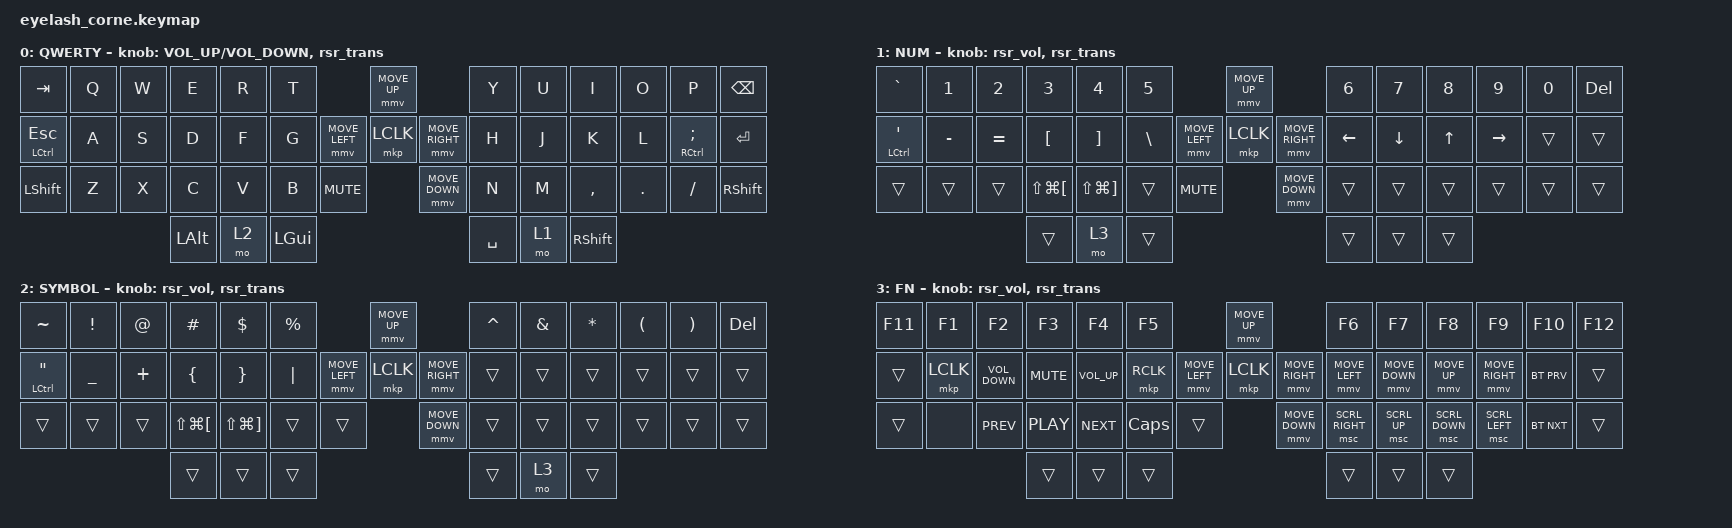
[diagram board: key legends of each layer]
#define ZMK_POINTING_DEFAULT_MOVE_VAL 1200  // 600
#define ZMK_POINTING_DEFAULT_SCRL_VAL 25   // 10

#include <input/processors.dtsi>
#include <zephyr/dt-bindings/input/input-event-codes.h>
#include <behaviors.dtsi>
#include <behaviors/runtime-sensor-rotate.dtsi>
#include <dt-bindings/zmk/bt.h>
#include <dt-bindings/zmk/keys.h>
#include <dt-bindings/zmk/outputs.h>
#include <dt-bindings/zmk/pointing.h>
#include <dt-bindings/zmk/rgb.h>

/ {
    behaviors {
        rsr_vol: rsr_vol {
            compatible = "zmk,behavior-runtime-sensor-rotate";
            #sensor-binding-cells = <0>;
            tap-ms = <5>;
            cw-binding = <&kp C_VOL_UP>;
            ccw-binding = <&kp C_VOL_DN>;
        };

        rsr_trans: rsr_trans {
            compatible = "zmk,behavior-runtime-sensor-rotate";
            #sensor-binding-cells = <0>;
            tap-ms = <0>;
        };
    };

    combos {
        compatible = "zmk,combos";

        softoff {
            bindings = <&soft_off>;
            key-positions = <1 15 29>;
        };
    };

    keymap {
        compatible = "zmk,keymap";

        default_layer {
            display-name = "QWERTY";
            bindings = <
&kp TAB           &kp Q  &kp W  &kp E         &kp R  &kp T                                       &mmv MOVE_UP                     &kp Y      &kp U  &kp I       &kp O    &kp P           &kp BACKSPACE
&mt LCTRL ESCAPE  &kp A  &kp S  &kp D         &kp F  &kp G                       &mmv MOVE_LEFT  &mkp LCLK       &mmv MOVE_RIGHT  &kp H      &kp J  &kp K       &kp L    &mt RCTRL SEMI  &kp ENTER
&kp LEFT_SHIFT    &kp Z  &kp X  &kp C         &kp V  &kp B         &kp C_MUTE                    &mmv MOVE_DOWN                   &kp N      &kp M  &kp COMMA   &kp DOT  &kp FSLH        &kp RIGHT_SHIFT
                                &kp LEFT_ALT  &mo 2  &kp LEFT_GUI                                                                 &kp SPACE  &mo 1  &kp RSHIFT
            >;

            sensor-bindings =
                <&inc_dec_kp C_VOL_UP C_VOLUME_DOWN>,
                <&rsr_trans>;
        };

        lower_layer {
            display-name = "NUM";
            bindings = <
&kp GRAVE               &kp N1     &kp N2     &kp N3                    &kp N4                     &kp N5                                       &mmv MOVE_UP                     &kp N6    &kp N7    &kp N8        &kp N9     &kp N0  &kp DELETE
&mt LCTRL SINGLE_QUOTE  &kp MINUS  &kp EQUAL  &kp LEFT_BRACKET          &kp RIGHT_BRACKET          &kp BACKSLASH                &mmv MOVE_LEFT  &mkp LCLK       &mmv MOVE_RIGHT  &kp LEFT  &kp DOWN  &kp UP_ARROW  &kp RIGHT  &trans  &trans
&trans                  &trans     &trans     &kp LS(LG(LEFT_BRACKET))  &kp LS(LG(RIGHT_BRACKET))  &trans         &kp C_MUTE                    &mmv MOVE_DOWN                   &trans    &trans    &trans        &trans     &trans  &trans
                                              &trans                    &mo 3                      &trans                                                                        &trans    &trans    &trans
            >;

            sensor-bindings = <&rsr_vol &rsr_trans>;
        };

        raise_layer {
            display-name = "SYMBOL";
            bindings = <
&kp TILDE                &kp EXCL        &kp AT    &kp HASH                  &kp DLLR                   &kp PRCNT                            &mmv MOVE_UP                     &kp CARET  &kp AMPS  &kp ASTRK  &kp LPAR  &kp RPAR  &kp DELETE
&mt LCTRL DOUBLE_QUOTES  &kp UNDERSCORE  &kp PLUS  &kp LEFT_BRACE            &kp RIGHT_BRACE            &kp PIPE             &mmv MOVE_LEFT  &mkp LCLK       &mmv MOVE_RIGHT  &trans     &trans    &trans     &trans    &trans    &trans
&trans                   &trans          &trans    &kp LS(LG(LEFT_BRACKET))  &kp LS(LG(RIGHT_BRACKET))  &trans     &trans                    &mmv MOVE_DOWN                   &trans     &trans    &trans     &trans    &trans    &trans
                                                   &trans                    &trans                     &trans                                                                &trans     &mo 3     &trans
            >;

            sensor-bindings = <&rsr_vol &rsr_trans>;
        };

        func_layer {
            display-name = "FN";
            bindings = <
&kp F11  &kp F1     &kp F2             &kp F3      &kp F4           &kp F5                                  &mmv MOVE_UP                     &kp F6           &kp F7          &kp F8          &kp F9           &kp F10     &kp F12
&trans   &mkp LCLK  &kp C_VOLUME_DOWN  &kp C_MUTE  &kp C_VOLUME_UP  &mkp RCLK               &mmv MOVE_LEFT  &mkp LCLK       &mmv MOVE_RIGHT  &mmv MOVE_LEFT   &mmv MOVE_DOWN  &mmv MOVE_UP    &mmv MOVE_RIGHT  &bt BT_PRV  &trans
&trans   &none      &kp C_PREV         &kp C_PLAY  &kp C_NEXT       &kp CAPSLOCK  &trans                    &mmv MOVE_DOWN                   &msc SCRL_RIGHT  &msc SCRL_UP    &msc SCRL_DOWN  &msc SCRL_LEFT   &bt BT_NXT  &trans
                                       &trans      &trans           &trans                                                                   &trans           &trans          &trans
            >;

            sensor-bindings = <&rsr_vol &rsr_trans>;
        };
    };
};
